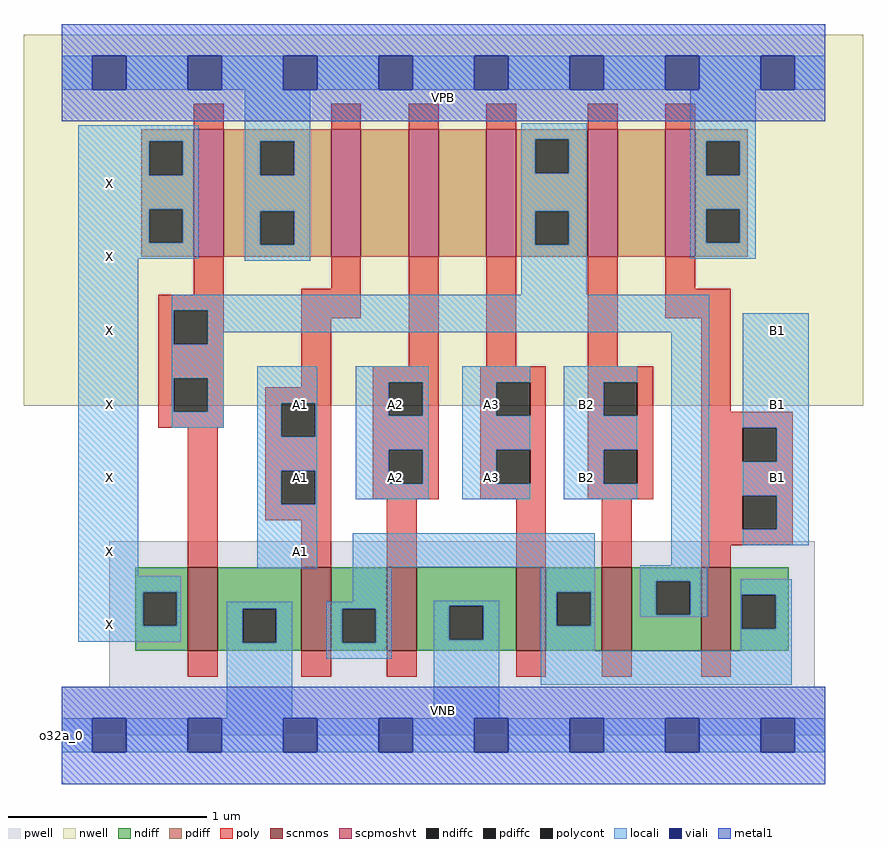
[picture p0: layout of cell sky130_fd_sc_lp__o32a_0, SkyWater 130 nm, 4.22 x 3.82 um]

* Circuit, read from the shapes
.subckt sky130_fd_sc_lp__o32a_0 A1 A2 A3 B1 B2 VGND VNB VPB VPWR X
XM1 VGND n1 X VNB sky130_fd_pr__nfet_01v8 w=0.42 l=0.15
XM2 n2 A1 VGND VNB sky130_fd_pr__nfet_01v8 w=0.42 l=0.15
XM3 VGND A2 n2 VNB sky130_fd_pr__nfet_01v8 w=0.42 l=0.15
XM4 n2 A3 VGND VNB sky130_fd_pr__nfet_01v8 w=0.42 l=0.15
XM5 n1 B2 n2 VNB sky130_fd_pr__nfet_01v8 w=0.42 l=0.15
XM6 n2 B1 n1 VNB sky130_fd_pr__nfet_01v8 w=0.42 l=0.15
XM7 VPWR n1 X VPB sky130_fd_pr__pfet_01v8_hvt w=0.64 l=0.15
XM8 n3 A1 VPWR VPB sky130_fd_pr__pfet_01v8_hvt w=0.64 l=0.15
XM9 n4 A2 n3 VPB sky130_fd_pr__pfet_01v8_hvt w=0.64 l=0.15
XM10 n1 A3 n4 VPB sky130_fd_pr__pfet_01v8_hvt w=0.64 l=0.15
XM11 n5 B2 n1 VPB sky130_fd_pr__pfet_01v8_hvt w=0.64 l=0.15
XM12 VPWR B1 n5 VPB sky130_fd_pr__pfet_01v8_hvt w=0.64 l=0.15
.ends

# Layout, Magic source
magic
tech sky130A
magscale 1 2
<< nwell >>
rect -38 331 806 704
<< pwell >>
rect 48 49 757 195
rect 0 0 768 49
<< scnmos >>
rect 127 85 157 169
rect 241 85 271 169
rect 327 85 357 169
rect 457 85 487 169
rect 543 85 573 169
rect 643 85 673 169
<< scpmoshvt >>
rect 133 481 163 609
rect 271 481 301 609
rect 349 481 379 609
rect 427 481 457 609
rect 529 481 559 609
rect 607 481 637 609
<< ndiff >>
rect 74 144 127 169
rect 74 110 82 144
rect 116 110 127 144
rect 74 85 127 110
rect 157 127 241 169
rect 157 93 182 127
rect 216 93 241 127
rect 157 85 241 93
rect 271 127 327 169
rect 271 93 282 127
rect 316 93 327 127
rect 271 85 327 93
rect 357 130 457 169
rect 357 96 390 130
rect 424 96 457 130
rect 357 85 457 96
rect 487 144 543 169
rect 487 110 498 144
rect 532 110 543 144
rect 487 85 543 110
rect 573 155 643 169
rect 573 121 598 155
rect 632 121 643 155
rect 573 85 643 121
rect 673 141 731 169
rect 673 107 684 141
rect 718 107 731 141
rect 673 85 731 107
<< pdiff >>
rect 80 597 133 609
rect 80 563 88 597
rect 122 563 133 597
rect 80 529 133 563
rect 80 495 88 529
rect 122 495 133 529
rect 80 481 133 495
rect 163 597 271 609
rect 163 563 200 597
rect 234 563 271 597
rect 163 527 271 563
rect 163 493 200 527
rect 234 493 271 527
rect 163 481 271 493
rect 301 481 349 609
rect 379 481 427 609
rect 457 599 529 609
rect 457 565 476 599
rect 510 565 529 599
rect 457 527 529 565
rect 457 493 476 527
rect 510 493 529 527
rect 457 481 529 493
rect 559 481 607 609
rect 637 597 690 609
rect 637 563 648 597
rect 682 563 690 597
rect 637 529 690 563
rect 637 495 648 529
rect 682 495 690 529
rect 637 481 690 495
<< ndiffc >>
rect 82 110 116 144
rect 182 93 216 127
rect 282 93 316 127
rect 390 96 424 130
rect 498 110 532 144
rect 598 121 632 155
rect 684 107 718 141
<< pdiffc >>
rect 88 563 122 597
rect 88 495 122 529
rect 200 563 234 597
rect 200 493 234 527
rect 476 565 510 599
rect 476 493 510 527
rect 648 563 682 597
rect 648 495 682 529
<< poly >>
rect 133 609 163 635
rect 271 609 301 635
rect 349 609 379 635
rect 427 609 457 635
rect 529 609 559 635
rect 607 609 637 635
rect 133 443 163 481
rect 271 449 301 481
rect 97 427 163 443
rect 97 393 113 427
rect 147 393 163 427
rect 97 359 163 393
rect 97 325 113 359
rect 147 325 163 359
rect 241 419 301 449
rect 241 350 271 419
rect 349 371 379 481
rect 427 371 457 481
rect 529 371 559 481
rect 607 449 637 481
rect 607 419 673 449
rect 97 309 163 325
rect 205 334 271 350
rect 127 169 157 309
rect 205 300 221 334
rect 255 300 271 334
rect 205 266 271 300
rect 205 232 221 266
rect 255 232 271 266
rect 313 355 379 371
rect 313 321 329 355
rect 363 321 379 355
rect 313 287 379 321
rect 313 253 329 287
rect 363 253 379 287
rect 313 237 379 253
rect 421 355 487 371
rect 421 321 437 355
rect 471 321 487 355
rect 421 287 487 321
rect 421 253 437 287
rect 471 253 487 287
rect 421 237 487 253
rect 529 355 595 371
rect 529 321 545 355
rect 579 321 595 355
rect 529 287 595 321
rect 529 253 545 287
rect 579 253 595 287
rect 529 237 595 253
rect 643 325 673 419
rect 643 309 735 325
rect 643 275 685 309
rect 719 275 735 309
rect 643 241 735 275
rect 205 216 271 232
rect 241 169 271 216
rect 327 169 357 237
rect 457 169 487 237
rect 543 169 573 237
rect 643 207 685 241
rect 719 207 735 241
rect 643 191 735 207
rect 643 169 673 191
rect 127 59 157 85
rect 241 59 271 85
rect 327 59 357 85
rect 457 59 487 85
rect 543 59 573 85
rect 643 59 673 85
<< polycont >>
rect 113 393 147 427
rect 113 325 147 359
rect 221 300 255 334
rect 221 232 255 266
rect 329 321 363 355
rect 329 253 363 287
rect 437 321 471 355
rect 437 253 471 287
rect 545 321 579 355
rect 545 253 579 287
rect 685 275 719 309
rect 685 207 719 241
<< locali >>
rect 0 649 31 683
rect 65 649 127 683
rect 161 649 223 683
rect 257 649 319 683
rect 353 649 415 683
rect 449 649 511 683
rect 545 649 607 683
rect 641 649 703 683
rect 737 649 768 683
rect 17 597 138 613
rect 17 563 88 597
rect 122 563 138 597
rect 17 529 138 563
rect 17 495 88 529
rect 122 495 138 529
rect 17 479 138 495
rect 184 597 250 649
rect 184 563 200 597
rect 234 563 250 597
rect 184 527 250 563
rect 184 493 200 527
rect 234 493 250 527
rect 17 160 77 479
rect 184 477 250 493
rect 462 599 528 615
rect 462 565 476 599
rect 510 565 528 599
rect 462 527 528 565
rect 462 493 476 527
rect 510 493 528 527
rect 462 443 528 493
rect 632 597 698 649
rect 632 563 648 597
rect 682 563 698 597
rect 632 529 698 563
rect 632 495 648 529
rect 682 495 698 529
rect 632 479 698 495
rect 111 427 651 443
rect 111 393 113 427
rect 147 405 651 427
rect 147 393 163 405
rect 111 359 163 393
rect 111 325 113 359
rect 147 325 163 359
rect 111 309 163 325
rect 197 334 257 371
rect 197 300 221 334
rect 255 300 257 334
rect 197 266 257 300
rect 197 232 221 266
rect 255 232 257 266
rect 296 355 369 371
rect 296 321 329 355
rect 363 321 369 355
rect 296 287 369 321
rect 296 253 329 287
rect 363 253 369 287
rect 296 237 369 253
rect 403 355 471 371
rect 403 321 437 355
rect 403 287 471 321
rect 403 253 437 287
rect 403 237 471 253
rect 505 355 579 371
rect 505 321 545 355
rect 505 287 579 321
rect 505 253 545 287
rect 505 237 579 253
rect 197 168 257 232
rect 293 169 536 203
rect 613 171 651 405
rect 685 309 751 424
rect 719 275 751 309
rect 685 241 751 275
rect 719 207 751 241
rect 685 191 751 207
rect 17 144 120 160
rect 17 110 82 144
rect 116 110 120 144
rect 293 134 332 169
rect 482 144 536 169
rect 17 94 120 110
rect 166 127 232 134
rect 166 93 182 127
rect 216 93 232 127
rect 166 17 232 93
rect 266 127 332 134
rect 266 93 282 127
rect 316 93 332 127
rect 266 77 332 93
rect 374 130 440 135
rect 374 96 390 130
rect 424 96 440 130
rect 374 17 440 96
rect 482 110 498 144
rect 532 110 536 144
rect 582 169 651 171
rect 582 155 649 169
rect 582 121 598 155
rect 632 121 649 155
rect 582 119 649 121
rect 683 141 734 157
rect 482 85 536 110
rect 683 107 684 141
rect 718 107 734 141
rect 683 85 734 107
rect 482 51 734 85
rect 0 -17 31 17
rect 65 -17 127 17
rect 161 -17 223 17
rect 257 -17 319 17
rect 353 -17 415 17
rect 449 -17 511 17
rect 545 -17 607 17
rect 641 -17 703 17
rect 737 -17 768 17
<< viali >>
rect 31 649 65 683
rect 127 649 161 683
rect 223 649 257 683
rect 319 649 353 683
rect 415 649 449 683
rect 511 649 545 683
rect 607 649 641 683
rect 703 649 737 683
rect 31 -17 65 17
rect 127 -17 161 17
rect 223 -17 257 17
rect 319 -17 353 17
rect 415 -17 449 17
rect 511 -17 545 17
rect 607 -17 641 17
rect 703 -17 737 17
<< metal1 >>
rect 0 683 768 715
rect 0 649 31 683
rect 65 649 127 683
rect 161 649 223 683
rect 257 649 319 683
rect 353 649 415 683
rect 449 649 511 683
rect 545 649 607 683
rect 641 649 703 683
rect 737 649 768 683
rect 0 617 768 649
rect 0 17 768 49
rect 0 -17 31 17
rect 65 -17 127 17
rect 161 -17 223 17
rect 257 -17 319 17
rect 353 -17 415 17
rect 449 -17 511 17
rect 545 -17 607 17
rect 641 -17 703 17
rect 737 -17 768 17
rect 0 -49 768 -17
<< labels >>
flabel pwell s 0 0 768 49 0 FreeSans 200 0 0 0 VNB
port 7 nsew ground bidirectional
flabel nwell s 0 617 768 666 0 FreeSans 200 0 0 0 VPB
port 8 nsew power bidirectional
rlabel comment s 0 0 0 0 4 o32a_0
flabel metal1 s 0 617 768 666 0 FreeSans 340 0 0 0 VPWR
port 9 nsew power bidirectional
flabel metal1 s 0 0 768 49 0 FreeSans 340 0 0 0 VGND
port 6 nsew ground bidirectional
flabel locali s 223 168 257 202 0 FreeSans 340 0 0 0 A1
port 1 nsew signal input
flabel locali s 223 242 257 276 0 FreeSans 340 0 0 0 A1
port 1 nsew signal input
flabel locali s 223 316 257 350 0 FreeSans 340 0 0 0 A1
port 1 nsew signal input
flabel locali s 319 242 353 276 0 FreeSans 340 0 0 0 A2
port 2 nsew signal input
flabel locali s 319 316 353 350 0 FreeSans 340 0 0 0 A2
port 2 nsew signal input
flabel locali s 415 242 449 276 0 FreeSans 340 0 0 0 A3
port 3 nsew signal input
flabel locali s 415 316 449 350 0 FreeSans 340 0 0 0 A3
port 3 nsew signal input
flabel locali s 703 242 737 276 0 FreeSans 340 0 0 0 B1
port 4 nsew signal input
flabel locali s 703 316 737 350 0 FreeSans 340 0 0 0 B1
port 4 nsew signal input
flabel locali s 703 390 737 424 0 FreeSans 340 0 0 0 B1
port 4 nsew signal input
flabel locali s 511 242 545 276 0 FreeSans 340 0 0 0 B2
port 5 nsew signal input
flabel locali s 511 316 545 350 0 FreeSans 340 0 0 0 B2
port 5 nsew signal input
flabel locali s 31 94 65 128 0 FreeSans 340 0 0 0 X
port 10 nsew signal output
flabel locali s 31 168 65 202 0 FreeSans 340 0 0 0 X
port 10 nsew signal output
flabel locali s 31 242 65 276 0 FreeSans 340 0 0 0 X
port 10 nsew signal output
flabel locali s 31 316 65 350 0 FreeSans 340 0 0 0 X
port 10 nsew signal output
flabel locali s 31 390 65 424 0 FreeSans 340 0 0 0 X
port 10 nsew signal output
flabel locali s 31 464 65 498 0 FreeSans 340 0 0 0 X
port 10 nsew signal output
flabel locali s 31 538 65 572 0 FreeSans 340 0 0 0 X
port 10 nsew signal output
<< properties >>
string LEFsite unit
string LEFclass CORE
string FIXED_BBOX 0 0 768 666
string GDS_FILE $PDKPATH/libs.ref/sky130_fd_sc_lp/gds/sky130_fd_sc_lp.gds
string LEFsymmetry X Y R90
string GDS_END 1749324
string GDS_START 1741030
<< end >>
